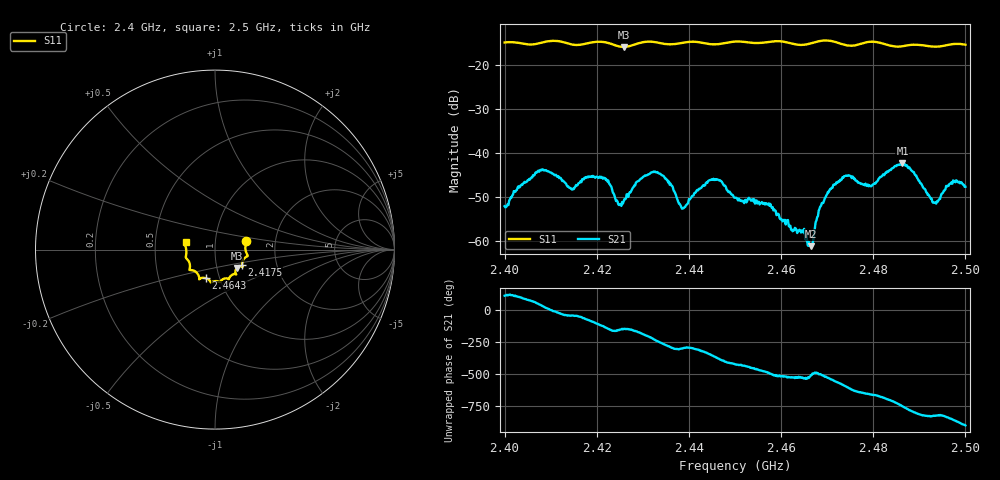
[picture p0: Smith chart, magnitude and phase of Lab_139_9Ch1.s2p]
# Hz S RI R 50
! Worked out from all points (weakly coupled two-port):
!   601 points, 2.4 GHz to 2.5 GHz, reference 50 ohm
!   highest |S21| = -42.39 dB at 2.4863 GHz (marker M1); lowest = -61.2 dB at 2.4665 GHz (marker M2)
!   lowest |S11| = -16.0 dB at 2.4258 GHz (marker M3), VSWR 1.38, Z = 62.2 - j13.1 ohm
!   |S11| at or under -10 dB: start of sweep to end of sweep
!   S12 and S22 are empty: the file has one direction only
!   S11 on the Smith chart (normalised r, x): 2.4 GHz: 1.41, +0.14; 2.4175 GHz: 1.33, -0.23; 2.4643 GHz: 0.86, -0.28; 2.5 GHz: 0.72, +0.06
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2.4e9  0.1718 0.0479  -0.00103 0.00226  0 0  0 0
2.407667e9  0.1747 -0.0173  0.00458 0.00442  0 0  0 0
2.4145e9  0.1619 -0.0503  0.00286 -0.00262  0 0  0 0
2.416667e9  0.1514 -0.074  0.00272 -0.00378  0 0  0 0
2.4175e9  0.1504 -0.0834  0.00193 -0.00481  0 0  0 0
2.422e9  0.1513 -0.0946  -0.0036 -0.00334  0 0  0 0
2.425833e9  0.1211 -0.1025  -0.00238 -0.00152  0 0  0 0
2.433333e9  0.1128 -0.1364  -0.00238 0.00542  0 0  0 0
2.438667e9  0.0802 -0.1575  0.00115 0.00204  0 0  0 0
2.444833e9  0.0569 -0.1603  0.0049 0.000622  0 0  0 0
2.45e9  0.0288 -0.1802  0.00126 -0.00283  0 0  0 0
2.464333e9  -0.0491 -0.1597  -0.00122 -0.00025  0 0  0 0
2.4665e9  -0.0739 -0.1577  -0.000762 -0.000431  0 0  0 0
2.466667e9  -0.0755 -0.1581  -0.000777 -0.000461  0 0  0 0
2.4685e9  -0.0865 -0.1639  -0.00194 -0.00151  0 0  0 0
2.471833e9  -0.0876 -0.1574  -0.00409 0.00157  0 0  0 0
2.4795e9  -0.1419 -0.1136  0.00228 0.0035  0 0  0 0
2.483333e9  -0.1394 -0.0899  0.00596 0.00162  0 0  0 0
2.486333e9  -0.1501 -0.0597  0.00615 -0.00446  0 0  0 0
2.493333e9  -0.1595 -0.0106  -0.000997 -0.00253  0 0  0 0
2.497167e9  -0.1682 0.0281  -0.00341 -0.00289  0 0  0 0
2.5e9  -0.1628 0.042  -0.00409 0.000512  0 0  0 0
